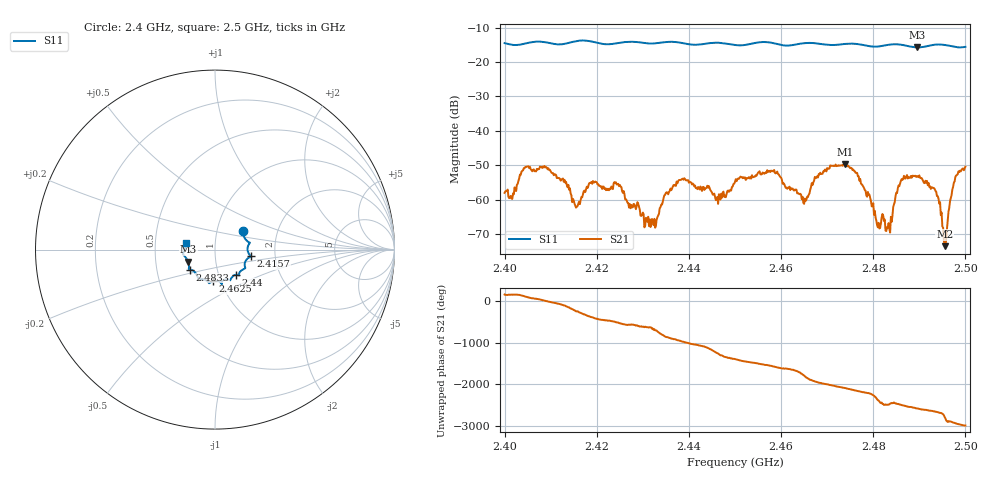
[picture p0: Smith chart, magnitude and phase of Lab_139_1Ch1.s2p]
# Hz S RI R 50
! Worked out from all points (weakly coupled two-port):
!   601 points, 2.4 GHz to 2.5 GHz, reference 50 ohm
!   highest |S21| = -49.77 dB at 2.4738 GHz (marker M1); lowest = -73.5 dB at 2.4955 GHz (marker M2)
!   lowest |S11| = -15.7 dB at 2.4895 GHz (marker M3), VSWR 1.39, Z = 36.8 - j5.12 ohm
!   |S11| at or under -10 dB: start of sweep to end of sweep
!   S12 and S22 are empty: the file has one direction only
!   S11 on the Smith chart (normalised r, x): 2.4 GHz: 1.33, +0.29; 2.4157 GHz: 1.49, -0.12; 2.44 GHz: 1.21, -0.35; 2.4625 GHz: 0.92, -0.34; 2.4833 GHz: 0.74, -0.17; 2.5 GHz: 0.72, +0.05
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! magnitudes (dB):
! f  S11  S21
! 2.4 GHz  -14.5  -58.0
! 2.4087 GHz  -14.2  -50.2
! 2.4157 GHz  -13.9  -62.1
! 2.4167 GHz  -13.7  -59.2
! 2.4242 GHz  -14.6  -55.0
! 2.4308 GHz  -14.5  -65.5
! 2.4333 GHz  -14.4  -64.6
! 2.44 GHz  -14.8  -55.1
! 2.4463 GHz  -14.4  -61.2
! 2.45 GHz  -15.0  -54.8
! 2.458 GHz  -14.4  -51.7
! 2.4625 GHz  -15.0  -56.8
! 2.465 GHz  -14.5  -61.2
! 2.4667 GHz  -14.4  -55.2
! 2.4738 GHz  -14.7  -49.8
! 2.4833 GHz  -15.0  -66.8
! 2.4858 GHz  -14.9  -55.3
! 2.4895 GHz  -15.7  -53.2
! 2.4937 GHz  -14.9  -57.7
! 2.4955 GHz  -15.0  -73.5
! 2.4977 GHz  -15.6  -54.7
! 2.5 GHz  -15.6  -50.4
